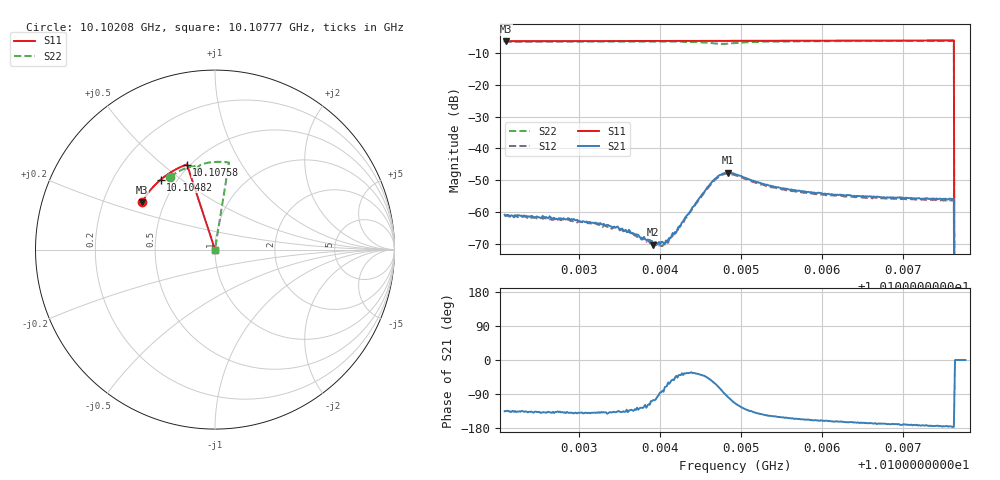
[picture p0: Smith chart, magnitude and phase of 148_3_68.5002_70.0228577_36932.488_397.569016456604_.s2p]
#  HZ  S  RI  R  50.00
! Rohde & Schwarz Vector Network Analyzer
! Rohde-Schwarz,ZNB20-2Port,1311601062101988,3.16
! Created: UTC 3/20/2024, 4:55:10 PM
! freq[Hz]  re:S11  im:S11  re:S21  im:S21  re:S12  im:S12  re:S22  im:S22
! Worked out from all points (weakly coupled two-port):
!   401 points, 10.10208 GHz to 10.10777 GHz, reference 50 ohm
!   highest |S21| = -47.61 dB at 10.10484 GHz (marker M1); lowest = -70.3 dB at 10.10391 GHz (marker M2)
!   lowest |S11| = -6.3 dB at 10.10209 GHz (marker M3), VSWR 2.89, Z = 18.6 + j12.8 ohm
!   |S11| at or under -10 dB: 10.10763 GHz to end of sweep
!   |S22| runs from - to -6.2 dB; largest |S21 - S12| = 0.00043
!   S11 on the Smith chart (normalised r, x): 10.10208 GHz: 0.37, +0.26; 10.10482 GHz: 0.41, +0.42; 10.10758 GHz: 0.48, +0.60; 10.10777 GHz: 1.00, +0.00
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1.0102079e10  -0.4083 0.2627  -0.000643 -0.000638  -0.00056 -0.00066  -0.2505 0.4072
1.0102094e10  -0.4078 0.2632  -0.000609 -0.000611  -0.000585 -0.000655  -0.2496 0.4074
1.0103032e10  -0.3765 0.3111  -0.000526 -0.000466  -0.000488 -0.00049  -0.1963 0.4387
1.0103331e10  -0.3652 0.3255  -0.000461 -0.000413  -0.000422 -0.000424  -0.1779 0.4472
1.0103587e10  -0.3553 0.3373  -0.000318 -0.000365  -0.000327 -0.000385  -0.1614 0.4536
1.0103914e10  -0.3419 0.3522  -8.42e-05 -0.000294  -6.03e-05 -0.000292  -0.1388 0.4608
1.0103985e10  -0.3389 0.3552  -6.46e-06 -0.000338  1.71e-05 -0.000298  -0.1335 0.4621
1.0104042e10  -0.3366 0.3578  3.6e-05 -0.000326  6.26e-05 -0.00031  -0.1293 0.463
1.0104113e10  -0.3336 0.3608  0.00018 -0.000349  0.000231 -0.000305  -0.1235 0.464
1.0104227e10  -0.3286 0.3658  0.000449 -0.000375  0.000452 -0.000353  -0.114 0.465
1.0104639e10  -0.3102 0.3826  0.0017 -0.00245  0.00181 -0.00217  -0.0788 0.446
1.0104724e10  -0.3065 0.386  0.00113 -0.00356  0.00139 -0.00333  -0.0821 0.4357
1.0104824e10  -0.302 0.3898  -0.000384 -0.00412  -1.97e-05 -0.004  -0.094 0.4337
1.0104838e10  -0.3013 0.3903  -0.000579 -0.00412  -0.000242 -0.00395  -0.0957 0.4347
1.0104924e10  -0.2974 0.3937  -0.00162 -0.00361  -0.00126 -0.0036  -0.101 0.4435
1.0105336e10  -0.2778 0.4093  -0.00222 -0.00143  -0.00197 -0.00161  -0.0771 0.4736
1.0105876e10  -0.2508 0.4279  -0.00188 -0.00075  -0.00173 -0.000888  -0.0378 0.4843
1.0106829e10  -0.2006 0.456  -0.00167 -0.000314  -0.00155 -0.000458  0.0261 0.4889
1.0107583e10  -0.1586 0.4738  -0.00161 -0.000141  -0.0015 -0.000269  0.075 0.4858
1.0107597e10  -0.1578 0.4741  -0.0016 -0.000123  -0.00149 -0.000253  0.076 0.4857
1.0107668e10  0 0  0 0  0 0  0 0
1.0107768e10  0 0  0 0  0 0  0 0
